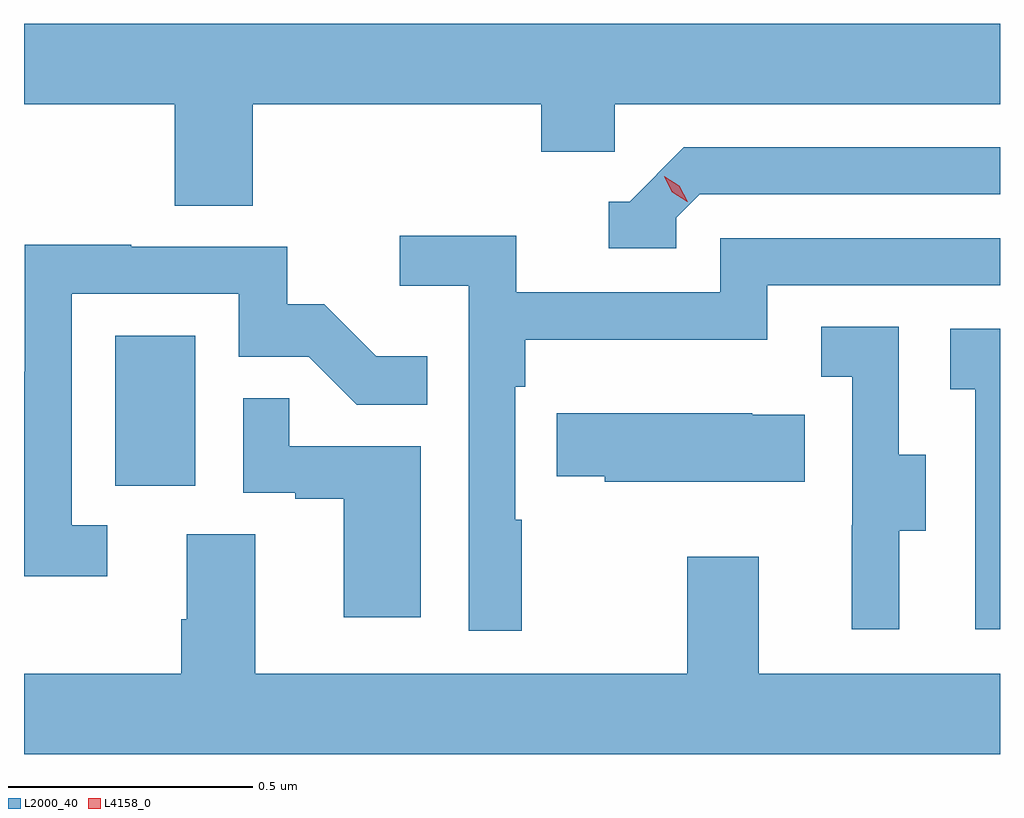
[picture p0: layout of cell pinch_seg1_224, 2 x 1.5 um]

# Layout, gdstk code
import gdstk
lib = gdstk.Library(unit=1e-6, precision=1e-09)
def R(c, l, rs):  # rectangles x0, y0, x1, y1
    for r in rs: c.add(gdstk.rectangle(r[:2], r[2:], *l))
def P(c, l, *ps):  # polygons
    for p in ps: c.add(gdstk.Polygon(p, *l))
L2000_40 = (2000, 40)
L4158_0 = (4158, 0)

pinch_seg1_224 = lib.new_cell('pinch_seg1_224')
R(pinch_seg1_224, L2000_40, [(974.954,572.262,975.118,572.569)])
P(pinch_seg1_224, L2000_40, [(975.236,573.044),(975.827,573.044),(975.827,572.946),(975.978,572.946),(975.978,573.044),(976.767,573.044),(976.767,573.208),(974.767,573.208),(974.767,573.044),(975.076,573.044),(975.076,572.836),(975.236,572.836)],
  [(976.104,572.811),(976.152,572.859),(976.767,572.859),(976.767,572.955),(976.119,572.955),(976.008,572.844),(975.965,572.844),(975.965,572.748),(976.104,572.748)],
  [(975.787,572.192),(975.774,572.192),(975.774,572.465),(975.794,572.465),(975.794,572.561),(976.29,572.561),(976.29,572.673),(976.767,572.673),(976.767,572.769),(976.194,572.769),(976.194,572.658),(975.776,572.658),(975.776,572.774),(975.537,572.774),(975.537,572.672),(975.678,572.672),(975.678,571.965),(975.787,571.965)],
  [(974.938,572.181),(974.865,572.181),(974.865,572.655),(975.207,572.655),(975.207,572.526),(975.351,572.526),(975.449,572.428),(975.593,572.428),(975.593,572.527),(975.489,572.527),(975.382,572.634),(975.306,572.634),(975.306,572.751),(974.987,572.751),(974.987,572.756),(974.769,572.756),(974.769,572.495),(974.767,572.495),(974.767,572.076),(974.938,572.076)],
  [(976.561,572.17),(976.615,572.17),(976.615,572.325),(976.56,572.325),(976.56,572.588),(976.401,572.588),(976.401,572.485),(976.464,572.485),(976.464,572.181),(976.463,572.181),(976.463,571.968),(976.561,571.968)],
  [(976.767,572.583),(976.665,572.583),(976.665,572.459),(976.716,572.459),(976.716,571.968),(976.767,571.968)],
  [(975.58,572.343),(975.311,572.343),(975.311,572.441),(975.216,572.441),(975.216,572.247),(975.323,572.247),(975.323,572.235),(975.422,572.235),(975.422,571.992),(975.58,571.992)],
  [(976.367,572.407),(976.259,572.407),(976.259,572.41),(975.859,572.41),(975.859,572.281),(975.957,572.281),(975.957,572.27),(976.367,572.27)],
  [(976.767,571.876),(976.273,571.876),(976.273,572.116),(976.126,572.116),(976.126,571.876),(975.241,571.876),(975.241,572.162),(975.101,572.162),(975.101,571.988),(975.089,571.988),(975.089,571.876),(974.767,571.876),(974.767,571.712),(976.767,571.712)])
P(pinch_seg1_224, L4158_0, [(976.126,572.844),(976.095,572.863),(976.079,572.895),(976.079,572.896),(976.079,572.896),(976.11,572.876),(976.127,572.844),(976.127,572.844)])

lib.write_gds('pinch_seg1_224.gds')
